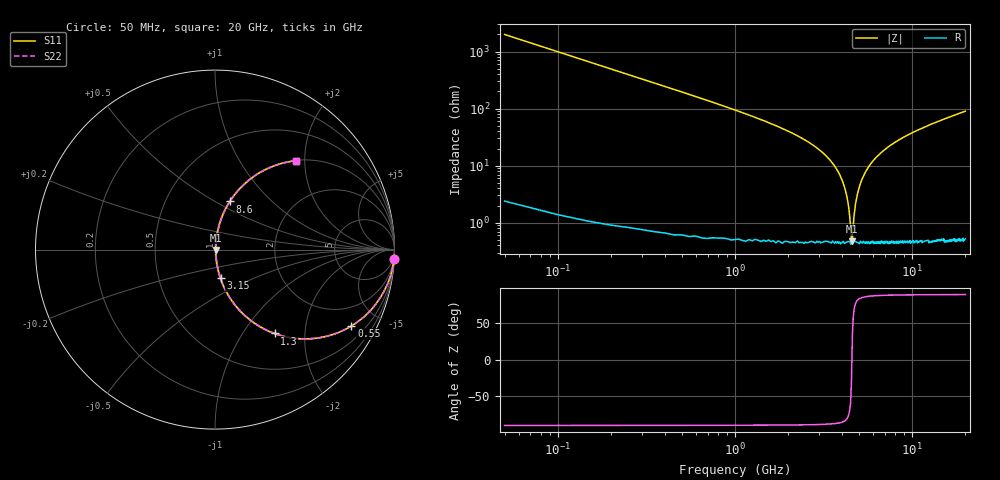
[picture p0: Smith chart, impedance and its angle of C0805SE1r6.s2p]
! AVX Thin Film Operation		Date: April 2012
! Description: Accu-P® Series, Thin Film, SMD, RF Capacitor
! Part Number: 08051J1R6PBTTR
!	100	MHz	-	20.05	GHz
!	Serial	Measurements
#	MHZ	S	MA	R	50
!	S11	S21	S12	S22
!	dB	Phase	dB	Phase	dB	Phase	dB	Phase
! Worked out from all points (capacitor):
!   400 points, 50 MHz to 20 GHz, reference 50 ohm
!   read as one part in series: C = 1.6 pF near 150 MHz
!   lowest |Z| = 471 mohm at 4.55 GHz (marker M1)
!   series resonance near 4.571 GHz, so ESL is about 760 pH
!   S11 on the Smith chart (normalised r, x): 50 MHz: 1, -40; 550 MHz: 1.01, -3.57; 1.3 GHz: 1.01, -1.41; 3.15 GHz: 1.01, -0.33; 8.6 GHz: 1.01, +0.59; 20 GHz: 1.01, +1.80
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50  0.999 -2.9  0.05 87.1  0.05 87.1  0.999 -2.9
100  0.995 -5.7  0.1 84.2  0.1 84.2  0.995 -5.7
200  0.98 -11.4  0.197 78.5  0.197 78.5  0.98 -11.4
550  0.871 -29.2  0.489 60.6  0.489 60.6  0.871 -29.2
1300  0.573 -54.6  0.815 35.0  0.815 35.0  0.573 -54.6
2050  0.36 -68.2  0.929 21.1  0.929 21.1  0.36 -68.2
3150  0.163 -79.1  0.982 9.4  0.982 9.4  0.163 -79.1
3400  0.129 -80.6  0.987 7.4  0.987 7.4  0.129 -80.6
4200  0.037 -80.9  0.995 2.1  0.995 2.1  0.037 -80.9
4400  0.017 -73.9  0.995 0.9  0.995 0.9  0.017 -73.9
4550  0.004907 -24.1  0.996 0.1  0.996 0.1  0.004907 -24.1
4600  0.00524 31.2  0.996 -0.2  0.996 -0.2  0.00524 31.2
4700  0.013 68.9  0.995 -0.7  0.995 -0.7  0.013 68.9
4800  0.022 76.8  0.995 -1.2  0.995 -1.2  0.022 76.8
5100  0.048 81.9  0.994 -2.7  0.994 -2.7  0.048 81.9
5800  0.104 81.6  0.99 -5.9  0.99 -5.9  0.104 81.6
6700  0.167 78.8  0.981 -9.6  0.981 -9.6  0.167 78.8
8600  0.281 72.8  0.955 -16.3  0.955 -16.3  0.281 72.8
10050  0.353 68.6  0.931 -20.7  0.931 -20.7  0.353 68.6
13350  0.488 60.3  0.869 -29.2  0.869 -29.2  0.488 60.3
16700  0.591 53.4  0.803 -36.2  0.803 -36.2  0.591 53.4
20000  0.668 47.8  0.74 -41.9  0.74 -41.9  0.668 47.8
